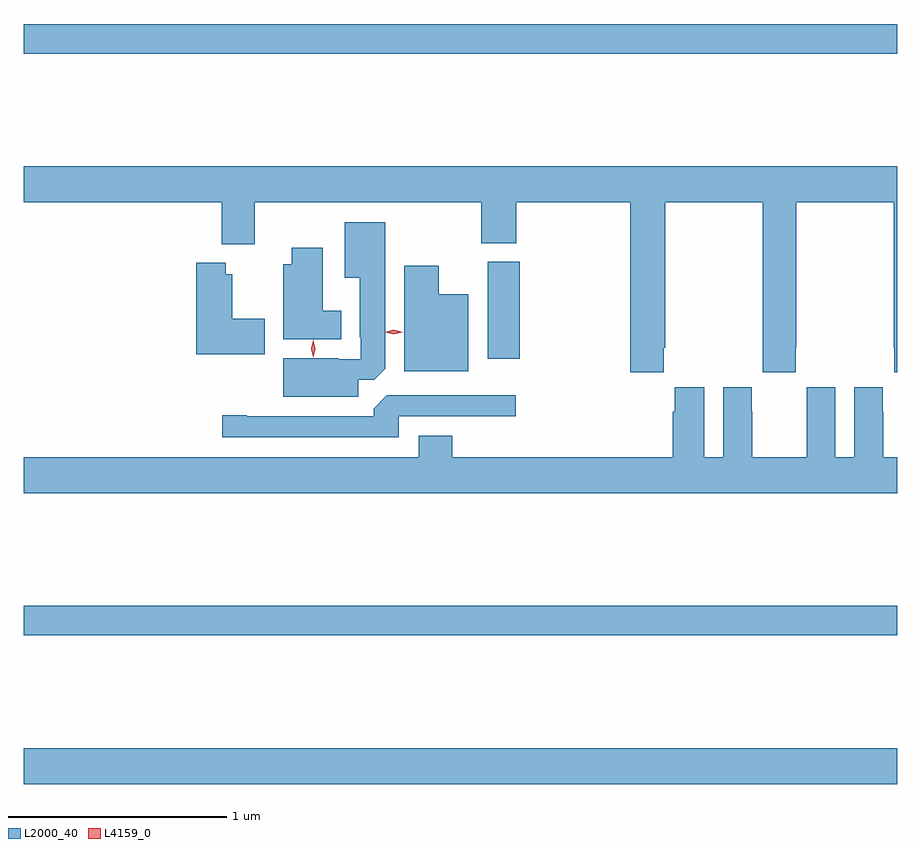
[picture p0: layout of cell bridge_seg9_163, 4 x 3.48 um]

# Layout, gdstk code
import gdstk
lib = gdstk.Library(unit=1e-6, precision=1e-09)
def R(c, l, rs):  # rectangles x0, y0, x1, y1
    for r in rs: c.add(gdstk.rectangle(r[:2], r[2:], *l))
def P(c, l, *ps):  # polygons
    for p in ps: c.add(gdstk.Polygon(p, *l))
L2000_40 = (2000, 40)
L4159_0 = (4159, 0)

bridge_seg9_163 = lib.new_cell('bridge_seg9_163')
R(bridge_seg9_163, L2000_40, [(276.446,1231.052,280.446,1231.216), (276.446,1231.732,280.446,1231.868), (278.57,1233,278.717,1233.444), (276.446,1234.396,280.446,1234.532)])
P(bridge_seg9_163, L2000_40, [(279.377,1233.049),(279.384,1233.049),(279.384,1233.716),(279.829,1233.716),(279.829,1233.049),(279.831,1233.049),(279.831,1232.937),(279.981,1232.937),(279.981,1233.049),(279.984,1233.049),(279.984,1233.716),(280.429,1233.716),(280.429,1233.049),(280.431,1233.049),(280.431,1232.937),(280.446,1232.937),(280.446,1233.88),(276.446,1233.88),(276.446,1233.716),(277.352,1233.716),(277.352,1233.524),(277.504,1233.524),(277.504,1233.716),(278.542,1233.716),(278.542,1233.529),(278.702,1233.529),(278.702,1233.716),(279.224,1233.716),(279.224,1232.937),(279.377,1232.937)],
  [(277.978,1232.904),(278.052,1232.904),(278.101,1232.953),(278.101,1233.625),(277.916,1233.625),(277.916,1233.371),(277.985,1233.371),(277.985,1233.097),(277.989,1233.097),(277.989,1232.997),(277.889,1232.997),(277.889,1233.001),(277.634,1233.001),(277.634,1232.825),(277.978,1232.825)],
  [(277.9,1233.22),(277.816,1233.22),(277.816,1233.508),(277.673,1233.508),(277.673,1233.433),(277.634,1233.433),(277.634,1233.089),(277.9,1233.089)],
  [(277.549,1233.183),(277.402,1233.183),(277.402,1233.385),(277.372,1233.385),(277.372,1233.439),(277.235,1233.439),(277.235,1233.02),(277.549,1233.02)],
  [(278.482,1233.295),(278.347,1233.295),(278.347,1233.424),(278.189,1233.424),(278.189,1232.942),(278.482,1232.942)],
  [(280.446,1232.548),(280.381,1232.548),(280.381,1232.756),(280.38,1232.756),(280.38,1232.869),(280.25,1232.869),(280.25,1232.548),(280.162,1232.548),(280.162,1232.869),(280.032,1232.869),(280.032,1232.756),(280.031,1232.756),(280.031,1232.548),(279.781,1232.548),(279.781,1232.756),(279.78,1232.756),(279.78,1232.869),(279.65,1232.869),(279.65,1232.548),(279.562,1232.548),(279.562,1232.869),(279.428,1232.869),(279.428,1232.756),(279.419,1232.756),(279.419,1232.548),(278.408,1232.548),(278.408,1232.647),(278.255,1232.647),(278.255,1232.548),(276.446,1232.548),(276.446,1232.384),(280.446,1232.384)],
  [(278.163,1232.736),(278.698,1232.736),(278.698,1232.832),(278.109,1232.832),(278.048,1232.77),(278.048,1232.736),(277.468,1232.736),(277.468,1232.741),(277.356,1232.741),(277.356,1232.64),(278.163,1232.64)])
P(bridge_seg9_163, L4159_0, [(278.141,1233.111),(278.1,1233.12),(278.1,1233.121),(278.1,1233.121),(278.141,1233.131),(278.182,1233.121),(278.182,1233.121),(278.182,1233.12)],
  [(277.771,1233.005),(277.762,1233.045),(277.771,1233.085),(277.772,1233.086),(277.772,1233.085),(277.782,1233.045),(277.772,1233.005),(277.772,1233.005)])

lib.write_gds('bridge_seg9_163.gds')
